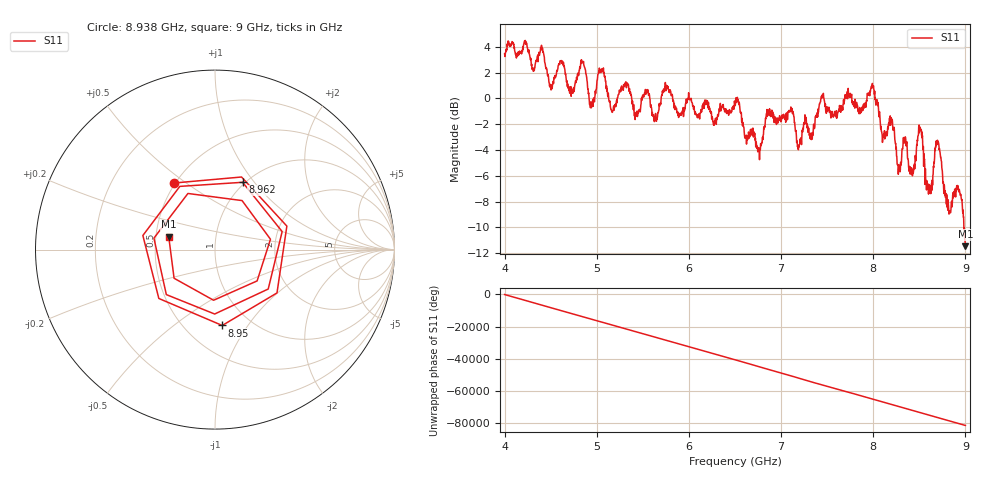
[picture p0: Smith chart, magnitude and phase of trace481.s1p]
! Created with skrf 1.8.0 (http://scikit-rf.org).
# Hz S RI R 50.0
!freq ReS11 ImS11
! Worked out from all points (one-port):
!   1601 points, 4 GHz to 9 GHz, reference 50 ohm
!   lowest |S11| = -11.5 dB at 9 GHz (marker M1), VSWR 1.73, Z = 29.3 + j4.5 ohm
!   |S11| at or under -10 dB: 8.983619 GHz to end of sweep
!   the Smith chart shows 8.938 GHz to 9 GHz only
!   S11 on the Smith chart (normalised r, x): 8.938 GHz: 0.49, +0.45; 8.95 GHz: 0.75, -0.77; 8.962 GHz: 0.98, +0.88; 9 GHz: 0.59, +0.09
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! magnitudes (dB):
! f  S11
! 4 GHz  3.5
! 4.406 GHz  3.7
! 4.506 GHz  0.7
! 4.625 GHz  2.8
! 4.731 GHz  0.7
! 4.85 GHz  2.8
! 4.941 GHz  -0.7
! 5.047 GHz  2.2
! 5.162 GHz  -1.0
! 5.25 GHz  0.5
! 5.875 GHz  -1.1
! 6.5 GHz  -0.5
! 6.75 GHz  -4.0
! 6.859 GHz  -0.9
! 7.125 GHz  -1.1
! 7.197 GHz  -3.6
! 7.75 GHz  0.4
! 7.991 GHz  1.2
! 8.278 GHz  -5.3
! 8.375 GHz  -4.7
! 8.509 GHz  -2.4
! 8.6 GHz  -7.4
! 8.694 GHz  -3.6
! 8.819 GHz  -8.5
! 8.938 GHz  -7.2
! 8.95 GHz  -7.4
! 8.962 GHz  -7.8
! 9 GHz  -11.5
